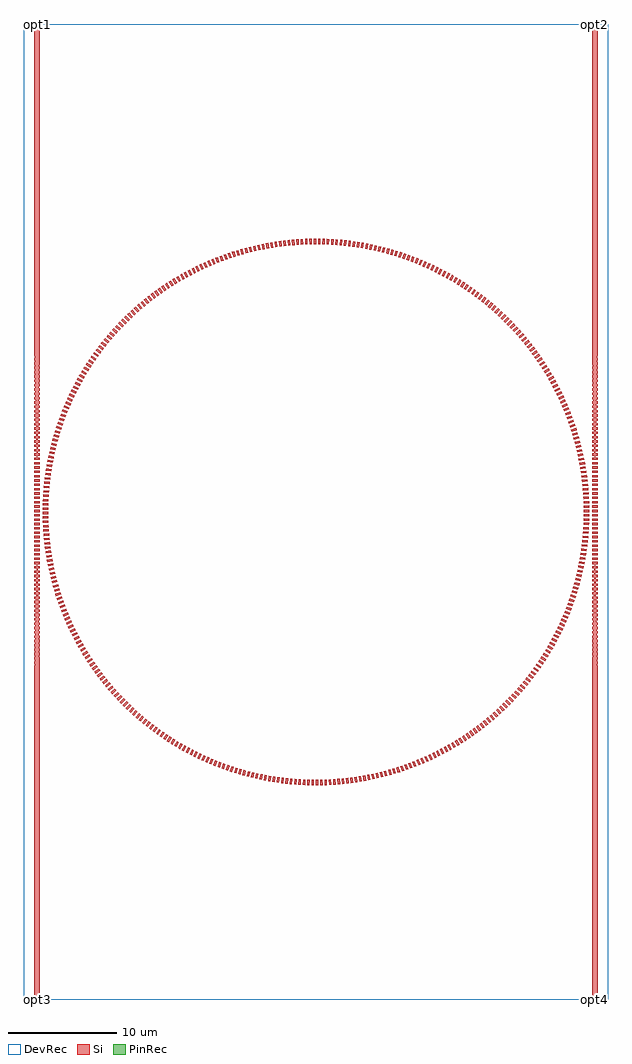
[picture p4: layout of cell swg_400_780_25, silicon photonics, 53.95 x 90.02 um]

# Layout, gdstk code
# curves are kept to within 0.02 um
import gdstk
lib = gdstk.Library(unit=1e-6, precision=1e-09)
def R(c, l, rs):  # rectangles x0, y0, x1, y1
    for r in rs: c.add(gdstk.rectangle(r[:2], r[2:], *l))
def A(c, l, x, y, w, h, nx, ny, dx, dy):  # array of equal rectangles
    R(c, l, [(x+i*dx, y+j*dy, x+i*dx+w, y+j*dy+h) for i in range(nx) for j in range(ny)])
def P(c, l, *ps):  # polygons
    for p in ps: c.add(gdstk.Polygon(p, *l))
Si = (1, 0)
PinRec = (1, 10)
DevRec = (68, 0)

swg_400_780_25 = lib.new_cell('swg_400_780_25')
A(swg_400_780_25, Si, 0, 40.6, 0.5, 0.2, 1, 23, 0, 0.4)
A(swg_400_780_25, Si, 51.452, 40.6, 0.5, 0.2, 1, 23, 0, 0.4)
P(swg_400_780_25, Si, [(25.779,69.705),(25.775,70.205),(25.977,70.205),(25.977,69.705)],
  [(25.973,19.795),(25.974,20.295),(26.171,20.295),(26.175,19.795)],
  [(0.771,44.8),(0.771,45.002),(1.271,45.002),(1.271,44.804)],
  [(36.338,67.428),(36.158,67.51),(36.364,67.965),(36.547,67.881)],
  [(51.452,49.8),(51.452,50),(51.672,50),(51.668,50.2),(51.452,50.2),(51.452,50.4),(51.663,50.4),(51.659,50.6),(51.452,50.6),(51.452,50.8),(51.654,50.8),(51.65,51),(51.452,51),(51.452,51.2),(51.646,51.2),(51.641,51.4),(51.452,51.4),(51.452,51.6),(51.637,51.6),(51.632,51.8),(51.452,51.8),(51.452,52),(51.628,52),(51.624,52.2),(51.452,52.2),(51.452,52.4),(51.619,52.4),(51.615,52.6),(51.452,52.6),(51.452,52.8),(51.61,52.8),(51.606,53),(51.452,53),(51.452,53.2),(51.602,53.2),(51.597,53.4),(51.452,53.4),(51.452,53.6),(51.593,53.6),(51.588,53.8),(51.452,53.8),(51.452,54),(51.584,54),(51.58,54.2),(51.452,54.2),(51.452,54.4),(51.575,54.4),(51.571,54.6),(51.452,54.6),(51.452,54.8),(51.566,54.8),(51.562,55),(51.452,55),(51.452,55.2),(51.558,55.2),(51.553,55.4),(51.452,55.4),(51.452,55.6),(51.549,55.6),(51.544,55.8),(51.452,55.8),(51.452,56),(51.54,56),(51.536,56.2),(51.452,56.2),(51.452,56.4),(51.531,56.4),(51.527,56.6),(51.452,56.6),(51.452,56.8),(51.522,56.8),(51.518,57),(51.452,57),(51.452,57.2),(51.514,57.2),(51.509,57.4),(51.452,57.4),(51.452,57.6),(51.505,57.6),(51.5,57.8),(51.452,57.8),(51.452,58),(51.496,58),(51.492,58.2),(51.452,58.2),(51.452,58.4),(51.487,58.4),(51.483,58.6),(51.452,58.6),(51.452,58.8),(51.478,58.8),(51.474,59),(51.452,59),(51.452,90),(51.952,90),(51.952,59),(51.93,59),(51.926,58.8),(51.952,58.8),(51.952,58.6),(51.921,58.6),(51.917,58.4),(51.952,58.4),(51.952,58.2),(51.912,58.2),(51.908,58),(51.952,58),(51.952,57.8),(51.904,57.8),(51.899,57.6),(51.952,57.6),(51.952,57.4),(51.895,57.4),(51.89,57.2),(51.952,57.2),(51.952,57),(51.886,57),(51.882,56.8),(51.952,56.8),(51.952,56.6),(51.877,56.6),(51.873,56.4),(51.952,56.4),(51.952,56.2),(51.868,56.2),(51.864,56),(51.952,56),(51.952,55.8),(51.86,55.8),(51.855,55.6),(51.952,55.6),(51.952,55.4),(51.851,55.4),(51.846,55.2),(51.952,55.2),(51.952,55),(51.842,55),(51.838,54.8),(51.952,54.8),(51.952,54.6),(51.833,54.6),(51.829,54.4),(51.952,54.4),(51.952,54.2),(51.824,54.2),(51.82,54),(51.952,54),(51.952,53.8),(51.816,53.8),(51.811,53.6),(51.952,53.6),(51.952,53.4),(51.807,53.4),(51.802,53.2),(51.952,53.2),(51.952,53),(51.798,53),(51.794,52.8),(51.952,52.8),(51.952,52.6),(51.789,52.6),(51.785,52.4),(51.952,52.4),(51.952,52.2),(51.78,52.2),(51.776,52),(51.952,52),(51.952,51.8),(51.772,51.8),(51.767,51.6),(51.952,51.6),(51.952,51.4),(51.763,51.4),(51.758,51.2),(51.952,51.2),(51.952,51),(51.754,51),(51.75,50.8),(51.952,50.8),(51.952,50.6),(51.745,50.6),(51.741,50.4),(51.952,50.4),(51.952,50.2),(51.736,50.2),(51.732,50),(51.952,50),(51.952,49.8)],
  [(36.696,67.259),(36.517,67.344),(36.73,67.796),(36.913,67.709)],
  [(38.784,66.126),(38.614,66.228),(38.87,66.658),(39.043,66.554)],
  [(37.051,67.084),(36.874,67.172),(37.094,67.621),(37.275,67.531)],
  [(39.121,65.918),(38.953,66.023),(39.215,66.449),(39.387,66.342)],
  [(28.743,69.55),(28.546,69.571),(28.598,70.069),(28.799,70.047)],
  [(35.977,67.591),(35.796,67.67),(35.994,68.129),(36.179,68.048)],
  [(29.528,69.449),(29.332,69.476),(29.4,69.972),(29.6,69.944)],
  [(35.614,67.748),(35.431,67.825),(35.622,68.287),(35.809,68.209)],
  [(32.243,68.897),(32.052,68.947),(32.175,69.431),(32.37,69.381)],
  [(27.164,69.677),(26.967,69.686),(26.987,70.185),(27.188,70.176)],
  [(31.474,69.086),(31.281,69.129),(31.388,69.618),(31.585,69.573)],
  [(34.509,68.185),(34.323,68.253),(34.492,68.723),(34.682,68.654)],
  [(33.762,68.447),(33.573,68.508),(33.727,68.984),(33.919,68.921)],
  [(35.248,67.9),(35.064,67.973),(35.248,68.438),(35.435,68.363)],
  [(30.31,69.322),(30.115,69.356),(30.199,69.849),(30.398,69.815)],
  [(26.373,69.702),(26.175,69.705),(26.179,70.205),(26.381,70.202)],
  [(28.349,69.591),(28.152,69.609),(28.196,70.108),(28.397,70.089)],
  [(26.769,69.693),(26.571,69.698),(26.583,70.198),(26.785,70.193)],
  [(33.006,68.684),(32.816,68.74),(32.954,69.22),(33.148,69.164)],
  [(29.92,69.389),(29.724,69.42),(29.8,69.914),(30,69.882)],
  [(30.699,69.25),(30.505,69.287),(30.597,69.778),(30.795,69.741)],
  [(27.955,69.626),(27.757,69.641),(27.793,70.14),(27.995,70.125)],
  [(32.626,68.794),(32.435,68.846),(32.565,69.329),(32.76,69.275)],
  [(29.136,69.503),(28.94,69.527),(29,70.023),(29.2,69.998)],
  [(34.136,68.319),(33.949,68.384),(34.111,68.857),(34.301,68.791)],
  [(27.56,69.655),(27.362,69.667),(27.39,70.166),(27.592,70.154)],
  [(34.88,68.045),(34.695,68.116),(34.871,68.584),(35.06,68.512)],
  [(33.385,68.568),(33.196,68.627),(33.342,69.105),(33.535,69.045)],
  [(31.087,69.171),(30.894,69.211),(30.993,69.701),(31.191,69.66)],
  [(31.86,68.995),(31.667,69.041),(31.782,69.528),(31.979,69.48)],
  [(37.404,66.904),(37.228,66.994),(37.456,67.44),(37.635,67.347)],
  [(37.753,66.718),(37.579,66.811),(37.814,67.253),(37.992,67.157)],
  [(38.1,66.526),(37.927,66.623),(38.169,67.06),(38.345,66.962)],
  [(38.443,66.329),(38.272,66.428),(38.521,66.862),(38.696,66.761)],
  [(47.88,56.427),(47.788,56.602),(48.229,56.837),(48.323,56.658)],
  [(45.776,59.776),(45.656,59.935),(46.055,60.237),(46.176,60.075)],
  [(50.602,46.978),(50.586,47.175),(51.084,47.219),(51.101,47.018)],
  [(43.997,61.9),(43.861,62.044),(44.223,62.389),(44.361,62.242)],
  [(50.299,49.333),(50.263,49.528),(50.755,49.62),(50.791,49.421)],
  [(47.694,56.777),(47.599,56.95),(48.037,57.192),(48.134,57.015)],
  [(42.877,63.02),(42.732,63.155),(43.071,63.522),(43.219,63.385)],
  [(42.291,63.553),(42.141,63.683),(42.469,64.061),(42.621,63.928)],
  [(49.423,52.785),(49.36,52.972),(49.833,53.134),(49.897,52.942)],
  [(47.305,57.467),(47.205,57.637),(47.634,57.893),(47.737,57.719)],
  [(47.103,57.807),(47,57.976),(47.425,58.238),(47.53,58.066)],
  [(46.682,58.477),(46.573,58.643),(46.99,58.919),(47.101,58.75)],
  [(48.876,54.271),(48.801,54.454),(49.263,54.646),(49.339,54.459)],
  [(49.874,51.267),(49.823,51.458),(50.305,51.589),(50.357,51.393)],
  [(49.295,53.16),(49.229,53.346),(49.7,53.515),(49.767,53.325)],
  [(49.161,53.532),(49.092,53.718),(49.56,53.894),(49.631,53.705)],
  [(39.784,65.486),(39.62,65.596),(39.896,66.013),(40.064,65.901)],
  [(46.01,59.457),(45.893,59.617),(46.296,59.913),(46.415,59.75)],
  [(45.292,60.403),(45.168,60.558),(45.556,60.873),(45.683,60.715)],
  [(46.463,58.808),(46.352,58.971),(46.764,59.254),(46.878,59.087)],
  [(50.653,46.187),(50.643,46.385),(51.142,46.413),(51.152,46.212)],
  [(43.163,62.747),(43.021,62.884),(43.366,63.246),(43.511,63.106)],
  [(50.062,50.497),(50.017,50.69),(50.504,50.805),(50.55,50.609)],
  [(39.454,65.705),(39.288,65.812),(39.557,66.234),(39.727,66.124)],
  [(44.265,61.609),(44.132,61.755),(44.499,62.094),(44.635,61.945)],
  [(47.502,57.123),(47.405,57.295),(47.838,57.544),(47.938,57.369)],
  [(46.239,59.134),(46.125,59.296),(46.533,59.585),(46.649,59.42)],
  [(50.669,45.792),(50.662,45.99),(51.161,46.01),(51.169,45.808)],
  [(48.724,54.637),(48.647,54.819),(49.105,55.018),(49.185,54.832)],
  [(49.66,52.029),(49.603,52.219),(50.081,52.365),(50.14,52.172)],
  [(50.425,48.552),(50.396,48.747),(50.89,48.823),(50.92,48.623)],
  [(48.06,56.074),(47.971,56.251),(48.416,56.479),(48.507,56.299)],
  [(49.022,53.903),(48.95,54.087),(49.415,54.271),(49.488,54.083)],
  [(43.723,62.187),(43.585,62.329),(43.942,62.679),(44.083,62.535)],
  [(41.688,64.066),(41.534,64.191),(41.849,64.58),(42.006,64.452)],
  [(44.529,61.314),(44.398,61.462),(44.771,61.795),(44.905,61.644)],
  [(50.147,50.111),(50.105,50.304),(50.594,50.412),(50.636,50.214)],
  [(45.042,60.711),(44.916,60.863),(45.299,61.184),(45.428,61.029)],
  [(49.77,51.649),(49.716,51.839),(50.196,51.978),(50.252,51.783)],
  [(40.434,65.033),(40.273,65.149),(40.562,65.556),(40.726,65.439)],
  [(50.479,48.159),(50.453,48.355),(50.948,48.423),(50.975,48.223)],
  [(48.567,55),(48.486,55.181),(48.942,55.387),(49.024,55.203)],
  [(50.226,49.723),(50.187,49.917),(50.677,50.016),(50.717,49.818)],
  [(45.536,60.092),(45.415,60.248),(45.808,60.557),(45.932,60.397)],
  [(49.971,50.883),(49.923,51.075),(50.408,51.198),(50.457,51.002)],
  [(41.068,64.56),(40.911,64.68),(41.213,65.078),(41.374,64.956)],
  [(48.235,55.719),(48.148,55.897),(48.597,56.118),(48.685,55.936)],
  [(50.678,45.396),(50.674,45.594),(51.174,45.606),(51.178,45.404)],
  [(50.526,47.766),(50.503,47.963),(51,48.023),(51.023,47.822)],
  [(50.681,45),(50.681,45.198),(51.181,45.202),(51.181,45)],
  [(50.567,47.372),(50.548,47.569),(51.045,47.621),(51.065,47.42)],
  [(40.753,64.799),(40.594,64.917),(40.89,65.32),(41.052,65.2)],
  [(50.631,46.583),(50.617,46.78),(51.116,46.816),(51.13,46.615)],
  [(41.38,64.315),(41.225,64.438),(41.533,64.831),(41.692,64.706)],
  [(48.404,55.361),(48.32,55.54),(48.772,55.754),(48.858,55.571)],
  [(43.446,62.469),(43.305,62.609),(43.656,62.965),(43.799,62.823)],
  [(42.586,63.289),(42.439,63.421),(42.772,63.794),(42.922,63.659)],
  [(46.895,58.144),(46.789,58.311),(47.21,58.58),(47.318,58.41)],
  [(50.365,48.943),(50.332,49.138),(50.825,49.222),(50.858,49.023)],
  [(40.111,65.262),(39.948,65.375),(40.231,65.787),(40.397,65.673)],
  [(49.545,52.408),(49.485,52.597),(49.96,52.75),(50.022,52.558)],
  [(44.788,61.015),(44.659,61.165),(45.037,61.492),(45.169,61.339)],
  [(41.991,63.812),(41.84,63.939),(42.161,64.323),(42.315,64.192)],
  [(0,49.8),(0,50),(0.22,50),(0.216,50.2),(0,50.2),(0,50.4),(0.211,50.4),(0.207,50.6),(0,50.6),(0,50.8),(0.202,50.8),(0.198,51),(0,51),(0,51.2),(0.194,51.2),(0.189,51.4),(0,51.4),(0,51.6),(0.185,51.6),(0.18,51.8),(0,51.8),(0,52),(0.176,52),(0.172,52.2),(0,52.2),(0,52.4),(0.167,52.4),(0.163,52.6),(0,52.6),(0,52.8),(0.158,52.8),(0.154,53),(0,53),(0,53.2),(0.15,53.2),(0.145,53.4),(0,53.4),(0,53.6),(0.141,53.6),(0.136,53.8),(0,53.8),(0,54),(0.132,54),(0.128,54.2),(0,54.2),(0,54.4),(0.123,54.4),(0.119,54.6),(0,54.6),(0,54.8),(0.114,54.8),(0.11,55),(0,55),(0,55.2),(0.106,55.2),(0.101,55.4),(0,55.4),(0,55.6),(0.097,55.6),(0.092,55.8),(0,55.8),(0,56),(0.088,56),(0.084,56.2),(0,56.2),(0,56.4),(0.079,56.4),(0.075,56.6),(0,56.6),(0,56.8),(0.07,56.8),(0.066,57),(0,57),(0,57.2),(0.062,57.2),(0.057,57.4),(0,57.4),(0,57.6),(0.053,57.6),(0.048,57.8),(0,57.8),(0,58),(0.044,58),(0.04,58.2),(0,58.2),(0,58.4),(0.035,58.4),(0.031,58.6),(0,58.6),(0,58.8),(0.026,58.8),(0.022,59),(0,59),(0,90),(0.5,90),(0.5,59),(0.478,59),(0.474,58.8),(0.5,58.8),(0.5,58.6),(0.469,58.6),(0.465,58.4),(0.5,58.4),(0.5,58.2),(0.46,58.2),(0.456,58),(0.5,58),(0.5,57.8),(0.452,57.8),(0.447,57.6),(0.5,57.6),(0.5,57.4),(0.443,57.4),(0.438,57.2),(0.5,57.2),(0.5,57),(0.434,57),(0.43,56.8),(0.5,56.8),(0.5,56.6),(0.425,56.6),(0.421,56.4),(0.5,56.4),(0.5,56.2),(0.416,56.2),(0.412,56),(0.5,56),(0.5,55.8),(0.408,55.8),(0.403,55.6),(0.5,55.6),(0.5,55.4),(0.399,55.4),(0.394,55.2),(0.5,55.2),(0.5,55),(0.39,55),(0.386,54.8),(0.5,54.8),(0.5,54.6),(0.381,54.6),(0.377,54.4),(0.5,54.4),(0.5,54.2),(0.372,54.2),(0.368,54),(0.5,54),(0.5,53.8),(0.364,53.8),(0.359,53.6),(0.5,53.6),(0.5,53.4),(0.355,53.4),(0.35,53.2),(0.5,53.2),(0.5,53),(0.346,53),(0.342,52.8),(0.5,52.8),(0.5,52.6),(0.337,52.6),(0.333,52.4),(0.5,52.4),(0.5,52.2),(0.328,52.2),(0.324,52),(0.5,52),(0.5,51.8),(0.32,51.8),(0.315,51.6),(0.5,51.6),(0.5,51.4),(0.311,51.4),(0.306,51.2),(0.5,51.2),(0.5,51),(0.302,51),(0.298,50.8),(0.5,50.8),(0.5,50.6),(0.293,50.6),(0.289,50.4),(0.5,50.4),(0.5,50.2),(0.284,50.2),(0.28,50),(0.5,50),(0.5,49.8)],
  [(15.08,67.173),(14.859,67.621),(15.041,67.71),(15.258,67.259)],
  [(13.001,66.024),(12.738,66.449),(12.911,66.555),(13.17,66.127)],
  [(15.436,67.345),(15.223,67.797),(15.406,67.882),(15.616,67.428)],
  [(14.726,66.995),(14.498,67.44),(14.678,67.532),(14.902,67.085)],
  [(15.796,67.511),(15.59,67.966),(15.774,68.049),(15.977,67.591)],
  [(22.621,69.477),(22.553,69.972),(22.754,69.999),(22.818,69.503)],
  [(23.802,69.61),(23.758,70.108),(23.959,70.125),(23.999,69.626)],
  [(22.229,69.42),(22.154,69.914),(22.353,69.944),(22.425,69.449)],
  [(17.631,68.253),(17.462,68.724),(17.652,68.791),(17.817,68.319)],
  [(18.004,68.384),(17.843,68.857),(18.035,68.922),(18.192,68.447)],
  [(18.758,68.628),(18.612,69.106),(18.805,69.164),(18.948,68.685)],
  [(16.523,67.825),(16.331,68.287),(16.518,68.364),(16.706,67.9)],
  [(17.259,68.117),(17.083,68.584),(17.272,68.655),(17.445,68.186)],
  [(24.592,69.667),(24.564,70.166),(24.765,70.176),(24.789,69.677)],
  [(20.673,69.13),(20.565,69.618),(20.763,69.66),(20.866,69.171)],
  [(24.196,69.641),(24.16,70.14),(24.362,70.154),(24.394,69.655)],
  [(16.89,67.974),(16.706,68.439),(16.894,68.512),(17.074,68.046)],
  [(18.38,68.509),(18.226,68.985),(18.419,69.046),(18.569,68.569)],
  [(16.158,67.671),(15.959,68.13),(16.145,68.209),(16.34,67.749)],
  [(23.408,69.572),(23.356,70.069),(23.557,70.089),(23.605,69.591)],
  [(25.383,69.698),(25.371,70.198),(25.573,70.202),(25.581,69.702)],
  [(23.014,69.527),(22.954,70.024),(23.155,70.047),(23.211,69.55)],
  [(24.987,69.686),(24.967,70.185),(25.169,70.193),(25.185,69.693)],
  [(21.449,69.287),(21.357,69.779),(21.556,69.815),(21.644,69.323)],
  [(21.06,69.211),(20.961,69.701),(21.159,69.741),(21.254,69.25)],
  [(19.902,68.947),(19.779,69.432),(19.975,69.481),(20.094,68.995)],
  [(20.287,69.041),(20.171,69.528),(20.368,69.574),(20.479,69.086)],
  [(21.839,69.357),(21.755,69.85),(21.954,69.883),(22.034,69.389)],
  [(19.519,68.847),(19.388,69.329),(19.583,69.381),(19.71,68.898)],
  [(19.138,68.74),(18.999,69.221),(19.194,69.276),(19.328,68.794)],
  [(2.236,51.841),(1.756,51.979),(1.813,52.173),(2.292,52.031)],
  [(4.548,57.297),(4.115,57.546),(4.216,57.72),(4.647,57.468)],
  [(2.593,52.974),(2.119,53.135),(2.185,53.326),(2.657,53.161)],
  [(2.724,53.348),(2.253,53.517),(2.322,53.707),(2.791,53.534)],
  [(8.368,62.33),(8.012,62.68),(8.154,62.824),(8.507,62.47)],
  [(11.359,64.918),(11.064,65.321),(11.227,65.44),(11.52,65.034)],
  [(1.271,45.2),(0.771,45.204),(0.774,45.406),(1.274,45.398)],
  [(1.765,49.918),(1.275,50.018),(1.316,50.216),(1.805,50.112)],
  [(12.334,65.597),(12.058,66.014),(12.226,66.125),(12.499,65.706)],
  [(5.38,58.644),(4.963,58.92),(5.075,59.088),(5.49,58.809)],
  [(5.828,59.297),(5.42,59.587),(5.538,59.751),(5.943,59.458)],
  [(3.982,56.253),(3.537,56.48),(3.629,56.66),(4.073,56.428)],
  [(4.165,56.604),(3.724,56.838),(3.819,57.016),(4.259,56.778)],
  [(8.648,62.61),(8.297,62.966),(8.442,63.107),(8.79,62.748)],
  [(7.822,61.756),(7.454,62.096),(7.592,62.244),(7.956,61.901)],
  [(12.666,65.813),(12.396,66.235),(12.567,66.343),(12.833,65.919)],
  [(1.405,47.571),(0.907,47.623),(0.929,47.824),(1.426,47.768)],
  [(9.221,63.156),(8.882,63.524),(9.031,63.66),(9.367,63.29)],
  [(1.309,46.387),(0.81,46.415),(0.822,46.617),(1.321,46.585)],
  [(6.538,60.249),(6.145,60.558),(6.27,60.716),(6.661,60.405)],
  [(1.847,50.306),(1.359,50.413),(1.403,50.61),(1.89,50.499)],
  [(6.785,60.559),(6.397,60.874),(6.525,61.03),(6.911,60.712)],
  [(3.306,54.82),(2.847,55.019),(2.928,55.204),(3.386,55.002)],
  [(1.449,47.964),(0.953,48.024),(0.978,48.225),(1.474,48.161)],
  [(8.093,62.045),(7.731,62.39),(7.871,62.536),(8.23,62.188)],
  [(1.935,50.692),(1.449,50.807),(1.496,51.003),(1.981,50.884)],
  [(7.037,60.865),(6.654,61.186),(6.784,61.34),(7.165,61.016)],
  [(9.812,63.684),(9.485,64.062),(9.638,64.193),(9.962,63.813)],
  [(1.557,48.749),(1.062,48.825),(1.094,49.024),(1.587,48.945)],
  [(10.113,63.94),(9.792,64.324),(9.948,64.453),(10.266,64.067)],
  [(3.466,55.182),(3.011,55.388),(3.095,55.572),(3.549,55.362)],
  [(6.297,59.936),(5.898,60.238),(6.021,60.399),(6.417,60.093)],
  [(3.633,55.542),(3.18,55.755),(3.267,55.938),(3.718,55.721)],
  [(1.29,45.991),(0.791,46.011),(0.8,46.213),(1.299,46.189)],
  [(8.932,62.885),(8.588,63.247),(8.734,63.386),(9.076,63.021)],
  [(9.514,63.422),(9.181,63.795),(9.332,63.929),(9.663,63.554)],
  [(1.367,47.177),(0.869,47.221),(0.887,47.422),(1.385,47.374)],
  [(4.953,57.977),(4.528,58.24),(4.635,58.411),(5.058,58.145)],
  [(2.349,52.22),(1.871,52.367),(1.931,52.559),(2.408,52.41)],
  [(11.681,65.15),(11.391,65.557),(11.556,65.674),(11.843,65.263)],
  [(5.164,58.312),(4.743,58.582),(4.852,58.752),(5.271,58.479)],
  [(3.003,54.089),(2.538,54.273),(2.613,54.46),(3.077,54.273)],
  [(4.748,57.639),(4.318,57.894),(4.422,58.068),(4.85,57.808)],
  [(7.555,61.463),(7.183,61.797),(7.318,61.947),(7.688,61.61)],
  [(12.005,65.376),(11.723,65.788),(11.89,65.902),(12.169,65.487)],
  [(10.419,64.192),(10.104,64.581),(10.262,64.707),(10.573,64.316)],
  [(2.86,53.719),(2.392,53.896),(2.465,54.085),(2.931,53.904)],
  [(1.689,49.53),(1.198,49.621),(1.236,49.82),(1.726,49.724)],
  [(1.5,48.357),(1.004,48.425),(1.033,48.625),(1.527,48.553)],
  [(5.601,58.973),(5.189,59.255),(5.304,59.422),(5.714,59.136)],
  [(7.294,61.166),(6.916,61.493),(7.049,61.645),(7.424,61.315)],
  [(10.729,64.439),(10.42,64.833),(10.579,64.957),(10.885,64.561)],
  [(11.042,64.681),(10.74,65.079),(10.901,65.201),(11.2,64.8)],
  [(3.804,55.899),(3.356,56.119),(3.445,56.3),(3.892,56.076)],
  [(1.335,46.782),(0.836,46.818),(0.852,47.02),(1.35,46.979)],
  [(2.029,51.076),(1.545,51.199),(1.595,51.395),(2.079,51.268)],
  [(4.354,56.952),(3.916,57.194),(4.015,57.37),(4.45,57.125)],
  [(6.06,59.619),(5.657,59.914),(5.777,60.077),(6.177,59.778)],
  [(1.278,45.596),(0.778,45.608),(0.784,45.81),(1.283,45.793)],
  [(2.13,51.459),(1.647,51.59),(1.701,51.785),(2.182,51.65)],
  [(3.152,54.456),(2.69,54.647),(2.768,54.833),(3.228,54.638)],
  [(1.62,49.14),(1.127,49.224),(1.162,49.423),(1.654,49.335)],
  [(2.468,52.598),(1.992,52.752),(2.055,52.944),(2.53,52.786)],
  [(13.681,66.429),(13.433,66.863),(13.608,66.963),(13.854,66.527)],
  [(14.026,66.623),(13.785,67.061),(13.962,67.158),(14.2,66.718)],
  [(13.34,66.229),(13.084,66.659),(13.258,66.762),(13.51,66.33)],
  [(14.375,66.812),(14.14,67.254),(14.318,67.348),(14.55,66.904)],
  [(15.22,22.205),(15.038,22.292),(15.255,22.742),(15.433,22.657)],
  [(14.856,22.38),(14.675,22.47),(14.899,22.917),(15.077,22.829)],
  [(12.735,23.552),(12.564,23.659),(12.83,24.082),(12.998,23.978)],
  [(15.587,22.035),(15.403,22.119),(15.613,22.573),(15.793,22.491)],
  [(0,0),(0,31.2),(0.022,31.2),(0.026,31.4),(0,31.4),(0,31.6),(0.031,31.6),(0.035,31.8),(0,31.8),(0,32),(0.04,32),(0.044,32.2),(0,32.2),(0,32.4),(0.048,32.4),(0.053,32.6),(0,32.6),(0,32.8),(0.057,32.8),(0.062,33),(0,33),(0,33.2),(0.066,33.2),(0.07,33.4),(0,33.4),(0,33.6),(0.075,33.6),(0.079,33.8),(0,33.8),(0,34),(0.084,34),(0.088,34.2),(0,34.2),(0,34.4),(0.092,34.4),(0.097,34.6),(0,34.6),(0,34.8),(0.101,34.8),(0.106,35),(0,35),(0,35.2),(0.11,35.2),(0.114,35.4),(0,35.4),(0,35.6),(0.119,35.6),(0.123,35.8),(0,35.8),(0,36),(0.128,36),(0.132,36.2),(0,36.2),(0,36.4),(0.136,36.4),(0.141,36.6),(0,36.6),(0,36.8),(0.145,36.8),(0.15,37),(0,37),(0,37.2),(0.154,37.2),(0.158,37.4),(0,37.4),(0,37.6),(0.163,37.6),(0.167,37.8),(0,37.8),(0,38),(0.172,38),(0.176,38.2),(0,38.2),(0,38.4),(0.18,38.4),(0.185,38.6),(0,38.6),(0,38.8),(0.189,38.8),(0.194,39),(0,39),(0,39.2),(0.198,39.2),(0.202,39.4),(0,39.4),(0,39.6),(0.207,39.6),(0.211,39.8),(0,39.8),(0,40),(0.216,40),(0.22,40.2),(0,40.2),(0,40.4),(0.5,40.4),(0.5,40.2),(0.28,40.2),(0.284,40),(0.5,40),(0.5,39.8),(0.289,39.8),(0.293,39.6),(0.5,39.6),(0.5,39.4),(0.298,39.4),(0.302,39.2),(0.5,39.2),(0.5,39),(0.306,39),(0.311,38.8),(0.5,38.8),(0.5,38.6),(0.315,38.6),(0.32,38.4),(0.5,38.4),(0.5,38.2),(0.324,38.2),(0.328,38),(0.5,38),(0.5,37.8),(0.333,37.8),(0.337,37.6),(0.5,37.6),(0.5,37.4),(0.342,37.4),(0.346,37.2),(0.5,37.2),(0.5,37),(0.35,37),(0.355,36.8),(0.5,36.8),(0.5,36.6),(0.359,36.6),(0.364,36.4),(0.5,36.4),(0.5,36.2),(0.368,36.2),(0.372,36),(0.5,36),(0.5,35.8),(0.377,35.8),(0.381,35.6),(0.5,35.6),(0.5,35.4),(0.386,35.4),(0.39,35.2),(0.5,35.2),(0.5,35),(0.394,35),(0.399,34.8),(0.5,34.8),(0.5,34.6),(0.403,34.6),(0.408,34.4),(0.5,34.4),(0.5,34.2),(0.412,34.2),(0.416,34),(0.5,34),(0.5,33.8),(0.421,33.8),(0.425,33.6),(0.5,33.6),(0.5,33.4),(0.43,33.4),(0.434,33.2),(0.5,33.2),(0.5,33),(0.438,33),(0.443,32.8),(0.5,32.8),(0.5,32.6),(0.447,32.6),(0.452,32.4),(0.5,32.4),(0.5,32.2),(0.456,32.2),(0.46,32),(0.5,32),(0.5,31.8),(0.465,31.8),(0.469,31.6),(0.5,31.6),(0.5,31.4),(0.474,31.4),(0.478,31.2),(0.5,31.2),(0.5,0)],
  [(13.081,23.343),(12.908,23.447),(13.167,23.874),(13.337,23.772)],
  [(13.43,23.139),(13.255,23.24),(13.507,23.672),(13.679,23.573)],
  [(13.782,22.941),(13.605,23.039),(13.851,23.475),(14.024,23.378)],
  [(14.495,22.561),(14.315,22.654),(14.547,23.097),(14.723,23.006)],
  [(14.137,22.748),(13.959,22.844),(14.197,23.283),(14.372,23.189)],
  [(1.991,37.251),(1.93,37.444),(2.407,37.594),(2.467,37.405)],
  [(0.907,42.38),(0.887,42.581),(1.385,42.629),(1.404,42.432)],
  [(1.755,38.024),(1.7,38.218),(2.182,38.353),(2.236,38.162)],
  [(2.537,35.731),(2.463,35.919),(2.93,36.099),(3.002,35.914)],
  [(1.197,40.382),(1.161,40.581),(1.653,40.668),(1.689,40.474)],
  [(10.102,25.421),(9.945,25.549),(10.263,25.935),(10.416,25.81)],
  [(6.395,29.129),(6.268,29.286),(6.659,29.598),(6.783,29.444)],
  [(5.655,30.088),(5.536,30.252),(5.941,30.544),(6.058,30.384)],
  [(1.544,38.804),(1.495,39),(1.981,39.119),(2.029,38.927)],
  [(11.061,24.681),(10.899,24.801),(11.198,25.202),(11.357,25.084)],
  [(2.846,34.984),(2.766,35.17),(3.227,35.365),(3.305,35.183)],
  [(12.055,23.988),(11.887,24.1),(12.166,24.515),(12.331,24.405)],
  [(0.868,42.783),(0.851,42.984),(1.35,43.024),(1.366,42.827)],
  [(9.179,26.207),(9.029,26.342),(9.365,26.712),(9.512,26.58)],
  [(12.393,23.767),(12.224,23.877),(12.496,24.296),(12.663,24.188)],
  [(1.87,37.637),(1.812,37.83),(2.291,37.972),(2.348,37.783)],
  [(5.187,30.747),(5.074,30.914),(5.488,31.194),(5.599,31.03)],
  [(1.126,40.78),(1.093,40.979),(1.587,41.059),(1.619,40.863)],
  [(7.452,27.907),(7.316,28.056),(7.686,28.392),(7.819,28.246)],
  [(1.358,39.59),(1.315,39.788),(1.805,39.891),(1.846,39.697)],
  [(4.961,31.082),(4.85,31.251),(5.27,31.524),(5.378,31.358)],
  [(6.652,28.817),(6.523,28.972),(6.909,29.29),(7.035,29.138)],
  [(1.646,38.413),(1.594,38.608),(2.078,38.735),(2.129,38.544)],
  [(1.062,41.179),(1.032,41.378),(1.527,41.45),(1.556,41.254)],
  [(6.143,29.445),(6.019,29.604),(6.415,29.91),(6.536,29.753)],
  [(2.118,36.868),(2.054,37.059),(2.529,37.217),(2.592,37.029)],
  [(8.295,27.036),(8.152,27.179),(8.505,27.532),(8.646,27.393)],
  [(9.482,25.94),(9.33,26.073),(9.66,26.449),(9.809,26.318)],
  [(1.448,39.196),(1.402,39.393),(1.89,39.504),(1.934,39.311)],
  [(0.836,43.185),(0.822,43.387),(1.321,43.419),(1.335,43.221)],
  [(3.009,34.615),(2.927,34.799),(3.384,35.001),(3.465,34.821)],
  [(3.535,33.523),(3.444,33.703),(3.891,33.927),(3.98,33.75)],
  [(4.113,32.457),(4.013,32.633),(4.449,32.878),(4.547,32.706)],
  [(7.728,27.612),(7.589,27.759),(7.954,28.101),(8.09,27.957)],
  [(3.915,32.809),(3.818,32.987),(4.257,33.225),(4.352,33.051)],
  [(0.791,43.992),(0.783,44.194),(1.283,44.21),(1.29,44.012)],
  [(4.741,31.421),(4.633,31.592),(5.056,31.858),(5.162,31.69)],
  [(3.354,33.884),(3.266,34.065),(3.716,34.282),(3.803,34.104)],
  [(8.009,27.322),(7.868,27.466),(8.227,27.814),(8.366,27.673)],
  [(10.417,25.17),(10.259,25.295),(10.571,25.686),(10.726,25.563)],
  [(5.896,29.765),(5.775,29.926),(6.175,30.225),(6.295,30.067)],
  [(6.914,28.509),(6.782,28.663),(7.163,28.987),(7.292,28.836)],
  [(11.72,24.214),(11.554,24.328),(11.84,24.738),(12.003,24.626)],
  [(5.418,30.416),(5.302,30.581),(5.712,30.867),(5.826,30.705)],
  [(0.81,43.588),(0.8,43.79),(1.299,43.814),(1.309,43.616)],
  [(8.88,26.479),(8.732,26.616),(9.074,26.981),(9.219,26.846)],
  [(9.79,25.678),(9.635,25.809),(9.96,26.189),(10.111,26.062)],
  [(1.004,41.578),(0.977,41.779),(1.473,41.842),(1.499,41.646)],
  [(0.778,44.396),(0.774,44.598),(1.274,44.606),(1.278,44.408)],
  [(0.952,41.979),(0.929,42.18),(1.426,42.236),(1.449,42.039)],
  [(4.526,31.763),(4.421,31.935),(4.848,32.195),(4.952,32.026)],
  [(10.737,24.923),(10.577,25.046),(10.882,25.441),(11.039,25.321)],
  [(2.252,36.487),(2.184,36.677),(2.656,36.842),(2.722,36.655)],
  [(8.585,26.755),(8.439,26.895),(8.787,27.254),(8.93,27.117)],
  [(3.722,33.165),(3.628,33.343),(4.071,33.574),(4.164,33.399)],
  [(2.688,35.356),(2.612,35.543),(3.075,35.731),(3.15,35.547)],
  [(7.18,28.206),(7.046,28.357),(7.422,28.687),(7.553,28.539)],
  [(11.389,24.445),(11.224,24.562),(11.517,24.968),(11.678,24.852)],
  [(2.391,36.107),(2.321,36.297),(2.79,36.469),(2.859,36.284)],
  [(1.274,39.985),(1.235,40.184),(1.726,40.279),(1.764,40.085)],
  [(4.317,32.109),(4.214,32.283),(4.646,32.535),(4.746,32.364)],
  [(3.179,34.248),(3.093,34.431),(3.547,34.641),(3.631,34.461)],
  [(24.157,19.86),(23.956,19.876),(23.996,20.374),(24.193,20.359)],
  [(18.223,21.016),(18.031,21.079),(18.189,21.554),(18.377,21.492)],
  [(19.385,20.672),(19.19,20.725),(19.325,21.207),(19.516,21.154)],
  [(22.951,19.977),(22.75,20.002),(22.814,20.498),(23.011,20.473)],
  [(19.776,20.569),(19.58,20.619),(19.707,21.103),(19.899,21.054)],
  [(25.368,19.802),(25.166,19.808),(25.182,20.307),(25.38,20.302)],
  [(24.964,19.815),(24.762,19.824),(24.786,20.323),(24.984,20.314)],
  [(15.956,21.872),(15.771,21.953),(15.974,22.41),(16.155,22.33)],
  [(17.459,21.277),(17.269,21.346),(17.441,21.815),(17.627,21.748)],
  [(20.562,20.383),(20.365,20.427),(20.476,20.914),(20.669,20.871)],
  [(23.754,19.893),(23.553,19.911),(23.601,20.409),(23.798,20.391)],
  [(20.957,20.299),(20.759,20.34),(20.863,20.829),(21.057,20.789)],
  [(16.328,21.714),(16.142,21.792),(16.337,22.252),(16.52,22.176)],
  [(16.703,21.562),(16.515,21.637),(16.703,22.101),(16.887,22.027)],
  [(21.752,20.151),(21.553,20.186),(21.64,20.678),(21.835,20.644)],
  [(20.168,20.473),(19.972,20.52),(20.091,21.006),(20.283,20.959)],
  [(25.771,19.795),(25.569,19.798),(25.578,20.298),(25.776,20.295)],
  [(22.15,20.087),(21.951,20.118),(22.031,20.612),(22.226,20.581)],
  [(24.56,19.834),(24.359,19.846),(24.391,20.345),(24.588,20.334)],
  [(17.84,21.144),(17.649,21.21),(17.814,21.682),(18.001,21.617)],
  [(22.55,20.028),(22.35,20.057),(22.422,20.551),(22.618,20.524)],
  [(23.352,19.931),(23.151,19.953),(23.207,20.45),(23.404,20.429)],
  [(17.079,21.417),(16.891,21.489),(17.071,21.955),(17.256,21.885)],
  [(21.354,20.222),(21.155,20.26),(21.251,20.751),(21.445,20.713)],
  [(18.609,20.895),(18.416,20.955),(18.566,21.432),(18.755,21.373)],
  [(18.996,20.78),(18.802,20.837),(18.944,21.316),(19.134,21.261)],
  [(51.452,0),(51.452,31.2),(51.474,31.2),(51.478,31.4),(51.452,31.4),(51.452,31.6),(51.483,31.6),(51.487,31.8),(51.452,31.8),(51.452,32),(51.492,32),(51.496,32.2),(51.452,32.2),(51.452,32.4),(51.5,32.4),(51.505,32.6),(51.452,32.6),(51.452,32.8),(51.509,32.8),(51.514,33),(51.452,33),(51.452,33.2),(51.518,33.2),(51.522,33.4),(51.452,33.4),(51.452,33.6),(51.527,33.6),(51.531,33.8),(51.452,33.8),(51.452,34),(51.536,34),(51.54,34.2),(51.452,34.2),(51.452,34.4),(51.544,34.4),(51.549,34.6),(51.452,34.6),(51.452,34.8),(51.553,34.8),(51.558,35),(51.452,35),(51.452,35.2),(51.562,35.2),(51.566,35.4),(51.452,35.4),(51.452,35.6),(51.571,35.6),(51.575,35.8),(51.452,35.8),(51.452,36),(51.58,36),(51.584,36.2),(51.452,36.2),(51.452,36.4),(51.588,36.4),(51.593,36.6),(51.452,36.6),(51.452,36.8),(51.597,36.8),(51.602,37),(51.452,37),(51.452,37.2),(51.606,37.2),(51.61,37.4),(51.452,37.4),(51.452,37.6),(51.615,37.6),(51.619,37.8),(51.452,37.8),(51.452,38),(51.624,38),(51.628,38.2),(51.452,38.2),(51.452,38.4),(51.632,38.4),(51.637,38.6),(51.452,38.6),(51.452,38.8),(51.641,38.8),(51.646,39),(51.452,39),(51.452,39.2),(51.65,39.2),(51.654,39.4),(51.452,39.4),(51.452,39.6),(51.659,39.6),(51.663,39.8),(51.452,39.8),(51.452,40),(51.668,40),(51.672,40.2),(51.452,40.2),(51.452,40.4),(51.952,40.4),(51.952,40.2),(51.732,40.2),(51.736,40),(51.952,40),(51.952,39.8),(51.741,39.8),(51.745,39.6),(51.952,39.6),(51.952,39.4),(51.75,39.4),(51.754,39.2),(51.952,39.2),(51.952,39),(51.758,39),(51.763,38.8),(51.952,38.8),(51.952,38.6),(51.767,38.6),(51.772,38.4),(51.952,38.4),(51.952,38.2),(51.776,38.2),(51.78,38),(51.952,38),(51.952,37.8),(51.785,37.8),(51.789,37.6),(51.952,37.6),(51.952,37.4),(51.794,37.4),(51.798,37.2),(51.952,37.2),(51.952,37),(51.802,37),(51.807,36.8),(51.952,36.8),(51.952,36.6),(51.811,36.6),(51.816,36.4),(51.952,36.4),(51.952,36.2),(51.82,36.2),(51.824,36),(51.952,36),(51.952,35.8),(51.829,35.8),(51.833,35.6),(51.952,35.6),(51.952,35.4),(51.838,35.4),(51.842,35.2),(51.952,35.2),(51.952,35),(51.846,35),(51.851,34.8),(51.952,34.8),(51.952,34.6),(51.855,34.6),(51.86,34.4),(51.952,34.4),(51.952,34.2),(51.864,34.2),(51.868,34),(51.952,34),(51.952,33.8),(51.873,33.8),(51.877,33.6),(51.952,33.6),(51.952,33.4),(51.882,33.4),(51.886,33.2),(51.952,33.2),(51.952,33),(51.89,33),(51.895,32.8),(51.952,32.8),(51.952,32.6),(51.899,32.6),(51.904,32.4),(51.952,32.4),(51.952,32.2),(51.908,32.2),(51.912,32),(51.952,32),(51.952,31.8),(51.917,31.8),(51.921,31.6),(51.952,31.6),(51.952,31.4),(51.926,31.4),(51.93,31.2),(51.952,31.2),(51.952,0)],
  [(39.04,23.444),(38.781,23.872),(38.95,23.975),(39.212,23.55)],
  [(36.544,22.117),(36.335,22.571),(36.514,22.655),(36.727,22.203)],
  [(36.91,22.289),(36.693,22.74),(36.871,22.827),(37.091,22.378)],
  [(37.272,22.468),(37.048,22.915),(37.225,23.004),(37.453,22.559)],
  [(50.919,41.373),(50.424,41.445),(50.452,41.641),(50.947,41.573)],
  [(51.178,44.593),(50.678,44.601),(50.681,44.799),(51.181,44.795)],
  [(48.506,33.698),(48.059,33.923),(48.147,34.1),(48.596,33.879)],
  [(50.79,40.576),(50.298,40.663),(50.332,40.858),(50.825,40.775)],
  [(50.974,41.773),(50.478,41.838),(50.503,42.034),(50.999,41.974)],
  [(50.139,37.825),(49.659,37.968),(49.715,38.158),(50.195,38.019)],
  [(47.735,32.278),(47.304,32.53),(47.403,32.702),(47.837,32.453)],
  [(51.023,42.175),(50.526,42.231),(50.547,42.427),(51.044,42.375)],
  [(50.021,37.439),(49.544,37.589),(49.602,37.778),(50.081,37.632)],
  [(43.216,26.613),(42.874,26.978),(43.018,27.114),(43.363,26.752)],
  [(51.065,42.576),(50.567,42.624),(50.585,42.822),(51.083,42.778)],
  [(45.426,28.968),(45.04,29.286),(45.166,29.44),(45.554,29.125)],
  [(51.1,42.979),(50.602,43.019),(50.617,43.216),(51.116,43.18)],
  [(50.549,39.388),(50.061,39.499),(50.105,39.693),(50.593,39.585)],
  [(44.08,27.463),(43.721,27.811),(43.858,27.953),(44.22,27.608)],
  [(45.681,29.282),(45.29,29.594),(45.413,29.749),(45.806,29.441)],
  [(50.251,38.213),(49.769,38.348),(49.822,38.539),(50.304,38.408)],
  [(49.023,34.794),(48.566,34.997),(48.645,35.178),(49.104,34.979)],
  [(39.384,23.656),(39.118,24.08),(39.285,24.186),(39.554,23.765)],
  [(51.129,43.382),(50.631,43.414),(50.642,43.611),(51.142,43.583)],
  [(46.647,30.577),(46.237,30.863),(46.35,31.026),(46.762,30.743)],
  [(49.338,35.538),(48.875,35.726),(48.948,35.91),(49.413,35.726)],
  [(46.876,30.91),(46.461,31.19),(46.571,31.354),(46.988,31.078)],
  [(49.629,36.292),(49.16,36.465),(49.228,36.651),(49.698,36.482)],
  [(42.618,26.07),(42.288,26.445),(42.436,26.577),(42.769,26.204)],
  [(47.099,31.247),(46.68,31.52),(46.787,31.686),(47.208,31.417)],
  [(51.152,43.785),(50.653,43.809),(50.662,44.007),(51.161,43.987)],
  [(50.716,40.179),(50.225,40.274),(50.262,40.469),(50.754,40.377)],
  [(45.93,29.6),(45.534,29.906),(45.654,30.063),(46.053,29.761)],
  [(50.858,40.974),(50.364,41.054),(50.395,41.249),(50.889,41.173)],
  [(44.359,27.755),(43.994,28.097),(44.129,28.242),(44.497,27.903)],
  [(47.529,31.931),(47.101,32.19),(47.203,32.36),(47.633,32.104)],
  [(45.167,28.659),(44.786,28.983),(44.914,29.134),(45.297,28.813)],
  [(49.184,35.165),(48.723,35.36),(48.8,35.543),(49.262,35.351)],
  [(47.316,31.587),(46.893,31.853),(46.998,32.021),(47.423,31.759)],
  [(49.766,36.672),(49.294,36.837),(49.359,37.024),(49.832,36.863)],
  [(46.174,29.922),(45.774,30.221),(45.891,30.38),(46.294,30.084)],
  [(48.132,32.982),(47.692,33.22),(47.786,33.395),(48.228,33.16)],
  [(41.689,25.292),(41.377,25.683),(41.532,25.807),(41.847,25.418)],
  [(48.856,34.426),(48.403,34.636),(48.485,34.816),(48.94,34.61)],
  [(47.936,32.629),(47.501,32.874),(47.597,33.047),(48.035,32.805)],
  [(41.371,25.042),(41.066,25.438),(41.222,25.56),(41.531,25.166)],
  [(48.322,33.339),(47.878,33.57),(47.969,33.746),(48.414,33.518)],
  [(42.003,25.546),(41.685,25.932),(41.837,26.059),(42.158,25.675)],
  [(49.487,35.914),(49.02,36.094),(49.091,36.279),(49.559,36.103)],
  [(39.724,23.874),(39.451,24.293),(39.617,24.402),(39.893,23.985)],
  [(49.896,37.054),(49.422,37.212),(49.484,37.4),(49.959,37.246)],
  [(51.168,44.189),(50.669,44.205),(50.674,44.403),(51.174,44.391)],
  [(46.413,30.248),(46.008,30.54),(46.123,30.701),(46.531,30.412)],
  [(42.313,25.805),(41.989,26.186),(42.139,26.315),(42.466,25.937)],
  [(43.509,26.892),(43.161,27.251),(43.303,27.389),(43.653,27.033)],
  [(43.797,27.175),(43.443,27.529),(43.583,27.669),(43.939,27.318)],
  [(50.356,38.603),(49.873,38.73),(49.922,38.922),(50.407,38.799)],
  [(44.633,28.052),(44.263,28.388),(44.396,28.535),(44.768,28.202)],
  [(48.684,34.061),(48.234,34.278),(48.319,34.457),(48.771,34.243)],
  [(50.636,39.783),(50.146,39.886),(50.187,40.08),(50.677,39.98)],
  [(41.049,24.798),(40.75,25.199),(40.909,25.318),(41.211,24.92)],
  [(40.061,24.097),(39.782,24.512),(39.945,24.623),(40.228,24.211)],
  [(40.724,24.559),(40.431,24.965),(40.591,25.081),(40.887,24.678)],
  [(50.456,38.995),(49.97,39.114),(50.017,39.307),(50.503,39.191)],
  [(44.902,28.353),(44.527,28.684),(44.657,28.833),(45.035,28.506)],
  [(40.394,24.326),(40.108,24.736),(40.27,24.85),(40.559,24.442)],
  [(42.919,26.339),(42.583,26.709),(42.729,26.843),(43.069,26.475)],
  [(38.693,23.238),(38.44,23.669),(38.611,23.77),(38.867,23.34)],
  [(37.989,22.841),(37.75,23.281),(37.924,23.376),(38.166,22.938)],
  [(37.632,22.652),(37.401,23.095),(37.576,23.187),(37.811,22.746)],
  [(38.342,23.037),(38.097,23.472),(38.269,23.57),(38.518,23.136)],
  [(35.057,21.487),(34.876,21.953),(35.061,22.026),(35.245,21.561)],
  [(28.796,19.953),(28.74,20.45),(28.936,20.472),(28.996,19.976)],
  [(29.597,20.056),(29.525,20.551),(29.721,20.58),(29.797,20.086)],
  [(26.781,19.807),(26.765,20.307),(26.963,20.314),(26.983,19.815)],
  [(36.176,21.951),(35.974,22.408),(36.155,22.489),(36.361,22.033)],
  [(35.805,21.79),(35.611,22.251),(35.793,22.328),(35.991,21.87)],
  [(28.394,19.911),(28.346,20.408),(28.543,20.428),(28.595,19.931)],
  [(35.432,21.636),(35.245,22.099),(35.428,22.174),(35.619,21.712)],
  [(29.996,20.117),(29.916,20.611),(30.112,20.643),(30.195,20.15)],
  [(34.298,21.208),(34.133,21.68),(34.32,21.746),(34.489,21.276)],
  [(32.757,20.724),(32.622,21.205),(32.813,21.259),(32.951,20.779)],
  [(27.991,19.875),(27.951,20.374),(28.149,20.39),(28.193,19.892)],
  [(29.197,20.001),(29.133,20.497),(29.329,20.523),(29.397,20.028)],
  [(33.531,20.954),(33.382,21.431),(33.57,21.491),(33.724,21.015)],
  [(30.394,20.185),(30.307,20.677),(30.502,20.713),(30.593,20.221)],
  [(30.792,20.259),(30.696,20.75),(30.89,20.788),(30.99,20.298)],
  [(32.367,20.618),(32.24,21.102),(32.431,21.153),(32.562,20.67)],
  [(26.377,19.798),(26.369,20.298),(26.567,20.302),(26.579,19.802)],
  [(31.188,20.339),(31.084,20.828),(31.278,20.87),(31.385,20.382)],
  [(31.975,20.519),(31.856,21.005),(32.048,21.052),(32.171,20.568)],
  [(33.916,21.078),(33.758,21.552),(33.946,21.615),(34.107,21.142)],
  [(34.679,21.344),(34.506,21.814),(34.691,21.883),(34.868,21.415)],
  [(27.588,19.846),(27.556,20.345),(27.754,20.359),(27.79,19.86)],
  [(27.185,19.824),(27.161,20.323),(27.359,20.333),(27.387,19.834)],
  [(31.582,20.426),(31.471,20.913),(31.664,20.958),(31.779,20.472)],
  [(33.145,20.836),(33.003,21.315),(33.192,21.372),(33.338,20.894)])
R(swg_400_780_25, DevRec, [(-1,0,52.952,90)])
swg_400_780_25.add(gdstk.FlexPath([(0.25,89.99),(0.25,90.01)], 0.5, ends="flush", simple_path=True, layer=1, datatype=10))  # PinRec
swg_400_780_25.add(gdstk.FlexPath([(51.702,89.99),(51.702,90.01)], 0.5, ends="flush", simple_path=True, layer=1, datatype=10))  # PinRec
swg_400_780_25.add(gdstk.FlexPath([(0.25,0.01),(0.25,-0.01)], 0.5, ends="flush", simple_path=True, layer=1, datatype=10))  # PinRec
swg_400_780_25.add(gdstk.FlexPath([(51.702,0.01),(51.702,-0.01)], 0.5, ends="flush", simple_path=True, layer=1, datatype=10))  # PinRec
swg_400_780_25.add(gdstk.Label('opt1', (0.25,90), layer=1, texttype=10))
swg_400_780_25.add(gdstk.Label('opt2', (51.702,90), layer=1, texttype=10))
swg_400_780_25.add(gdstk.Label('opt3', (0.25,0), layer=1, texttype=10))
swg_400_780_25.add(gdstk.Label('opt4', (51.702,0), layer=1, texttype=10))

lib.write_gds('swg_400_780_25.gds')
